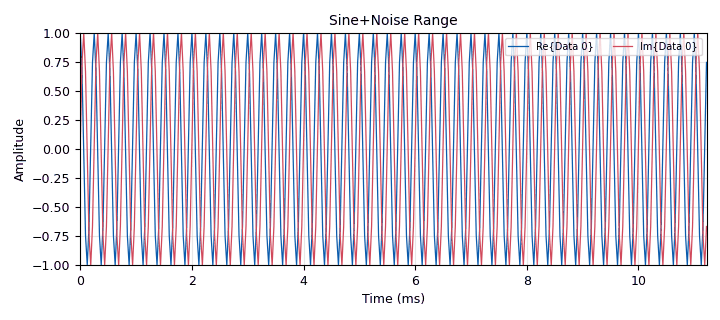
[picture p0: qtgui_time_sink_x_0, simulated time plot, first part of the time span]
options:
  parameters:
    generate_options: qt_gui
    id: Part_6_Option_B
    output_language: python
    title: Not titled yet
  states: {}

blocks:
- name: noise_amp
  id: variable_qtgui_range
  parameters:
    label: Noise Tuning
    start: '0'
    step: '1'
    stop: '100'
    value: '0'
    widget: slider
  states: {}
- name: samp_rate
  id: variable
  parameters:
    value: '32000'
  states: {}
- name: analog_noise_source_x_0
  id: analog_noise_source_x
  parameters:
    amp: noise_amp
    noise_type: analog.GR_GAUSSIAN
    seed: '0'
    type: complex
  states: {}
- name: analog_sig_source_x_0
  id: analog_sig_source_x
  parameters:
    amp: '1'
    freq: 100e3
    offset: '0'
    phase: '0'
    samp_rate: samp_rate
    type: complex
    waveform: analog.GR_SIN_WAVE
  states: {}
- name: blocks_add_xx_0
  id: blocks_add_xx
  parameters:
    type: complex
  states: {}
- name: blocks_throttle2_0
  id: blocks_throttle2
  parameters:
    samples_per_second: samp_rate
    type: complex
  states: {}
- name: qtgui_time_sink_x_0
  id: qtgui_time_sink_x
  parameters:
    name: '"Sine+Noise Range"'
    size: '1024'
    srate: samp_rate
    type: complex
  states: {}

connections:
- [analog_noise_source_x_0, '0', blocks_add_xx_0, '1']
- [analog_sig_source_x_0, '0', blocks_throttle2_0, '0']
- [blocks_add_xx_0, '0', qtgui_time_sink_x_0, '0']
- [blocks_throttle2_0, '0', blocks_add_xx_0, '0']

metadata:
  file_format: 1
  grc_version: 3.10.9.2
